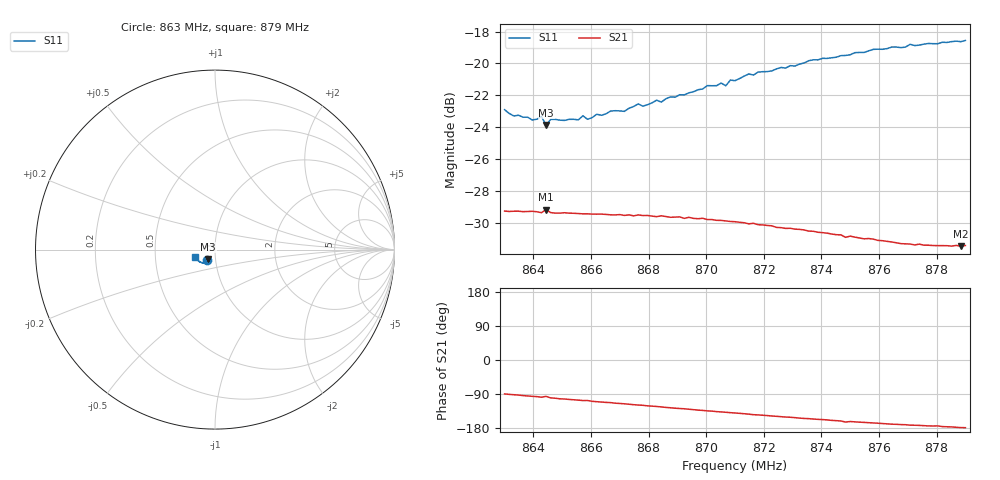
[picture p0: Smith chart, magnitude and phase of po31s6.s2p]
# HZ S RI R 50
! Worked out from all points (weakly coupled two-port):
!   101 points, 863 MHz to 879 MHz, reference 50 ohm
!   highest |S21| = -29.17 dB at 864.44 MHz (marker M1); lowest = -31.5 dB at 878.84 MHz (marker M2)
!   lowest |S11| = -23.9 dB at 864.44 MHz (marker M3), VSWR 1.14, Z = 46.1 - j4.82 ohm
!   |S11| at or under -10 dB: start of sweep to end of sweep
!   S12 and S22 are empty: the file has one direction only
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8.63e8  -0.045 -0.0557  0.000348 -0.0344  0 0  0 0
8.6332e8  -0.0409 -0.0549  -0.000987 -0.0344  0 0  0 0
8.6396e8  -0.0384 -0.0543  -0.00352 -0.0342  0 0  0 0
8.6428e8  -0.038 -0.0565  -0.00488 -0.0337  0 0  0 0
8.6444e8  -0.0374 -0.052  -0.00365 -0.0346  0 0  0 0
8.646e8  -0.0367 -0.0558  -0.00594 -0.0335  0 0  0 0
8.6556e8  -0.0348 -0.0567  -0.00926 -0.0325  0 0  0 0
8.6572e8  -0.0346 -0.0592  -0.00991 -0.0323  0 0  0 0
8.6588e8  -0.0355 -0.0566  -0.00982 -0.0323  0 0  0 0
8.6668e8  -0.0348 -0.0618  -0.0128 -0.031  0 0  0 0
8.6716e8  -0.0338 -0.0622  -0.0144 -0.0301  0 0  0 0
8.6764e8  -0.0355 -0.0657  -0.0162 -0.0293  0 0  0 0
8.6844e8  -0.036 -0.0665  -0.0185 -0.0277  0 0  0 0
8.7004e8  -0.0443 -0.0728  -0.0226 -0.0232  0 0  0 0
8.7068e8  -0.0447 -0.0725  -0.0238 -0.0215  0 0  0 0
8.7084e8  -0.0482 -0.0744  -0.0241 -0.021  0 0  0 0
8.71e8  -0.0484 -0.0738  -0.0244 -0.0206  0 0  0 0
8.7148e8  -0.0525 -0.0764  -0.0251 -0.0189  0 0  0 0
8.7372e8  -0.0695 -0.0756  -0.0272 -0.0122  0 0  0 0
8.7644e8  -0.0947 -0.0608  -0.0271 -0.00508  0 0  0 0
8.7884e8  -0.1098 -0.0404  -0.0267 -0.000766  0 0  0 0
8.79e8  -0.1113 -0.0395  -0.0268 -0.000646  0 0  0 0
